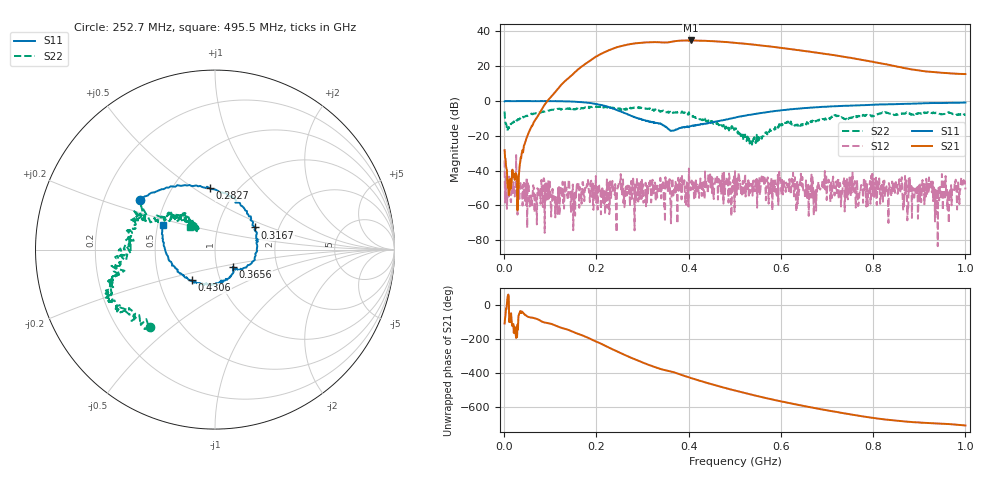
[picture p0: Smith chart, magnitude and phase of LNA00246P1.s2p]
! Created with skrf 1.9.0 (http://scikit-rf.org).
# Hz S RI R 50.0
!freq ReS11 ImS11 ReS21 ImS21 ReS12 ImS12 ReS22 ImS22
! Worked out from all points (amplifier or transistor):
!   1001 points, 1 MHz to 1 GHz, reference 50 ohm
!   highest |S21| = 34.8 dB at 404.6 MHz (marker M1)
!   |S21| within 3 dB of that: 257.2 MHz to 561.1 MHz (304 MHz wide, 74.3 % of centre)
!   unconditionally stable (mu >= 1): start of sweep to 74.47 MHz; 287.7 MHz to 400.5 MHz; 400.9 MHz to end of sweep (the widest 3 of 27)
!   at 166.8 MHz: K = 1.49, MAG = 31.7 dB, |S12| = -52.2 dB
!   at 500.5 MHz: K = 1.21, MAG = 34.2 dB, |S12| = -40.4 dB
!   at 1 GHz: K = 4.83, MAG = 23.4 dB, |S12| = -50.8 dB
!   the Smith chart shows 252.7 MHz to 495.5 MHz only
!   S11 on the Smith chart (normalised r, x): 252.7 MHz: 0.36, +0.26; 282.7 MHz: 0.75, +0.58; 316.7 MHz: 1.51, +0.40; 365.6 MHz: 1.20, -0.24; 430.6 MHz: 0.73, -0.26; 495.5 MHz: 0.53, +0.16
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1000000  0.9775 -0.00809  -0.0128 -0.0365  -0.0189 0.00535  0.3994 0.3051
1.07893e8  0.5193 -0.8515  -0.7585 -1.462  -0.000414 0.002  0.4375 -0.3724
1.67833e8  -0.2544 -0.8939  -9.78 -0.4408  -0.0011 0.000191  0.0261 -0.6361
2.12788e8  -0.6942 -0.3038  -14.58 18.62  -0.0019 -0.00246  -0.2087 -0.6324
2.31769e8  -0.6373 0.0218  -6.981 29.86  0.000221 -0.00153  -0.2849 -0.5737
2.52748e8  -0.4197 0.2741  8.602 36.93  -0.00698 -0.00386  -0.3601 -0.4286
2.82718e8  -0.029 0.3416  34.13 29.58  0.000191 -1.65e-05  -0.5712 -0.2765
3.16684e8  0.2236 0.1235  48.97 3.663  0.0025 0.00455  -0.5463 -0.1436
3.34666e8  0.2246 -0.024  47.94 -11.17  -0.000429 -0.00273  -0.5501 -0.0482
3.65635e8  0.1018 -0.0975  42.54 -29.04  -0.00396 -0.000265  -0.4418 0.1184
4.04596e8  0.00449 -0.1902  18.98 -51.88  -0.000485 0.00269  -0.3368 0.1774
4.3057e8  -0.1277 -0.171  -1.185 -54.18  0.00269 -0.000747  -0.227 0.1963
4.64536e8  -0.261 -0.0429  -24.34 -45.56  0.00335 -0.000626  -0.131 0.1646
4.95505e8  -0.2917 0.1346  -37.02 -30.43  0.000573 -0.00292  -0.1414 0.1279
5.005e8  -0.2872 0.1689  -38.44 -28.04  0.00646 -0.0071  -0.1286 0.0818
5.39461e8  -0.1973 0.3643  -41.49 -7.098  0.00212 -0.00441  -0.0699 -0.00598
5.84416e8  0.0121 0.5123  -34.32 11.36  0.00286 -0.0043  -0.1413 -0.0654
6.25375e8  0.2172 0.5459  -22.83 20.26  0.00288 -0.00239  -0.1847 -0.1115
6.67333e8  0.4193 0.4969  -11.2 22.98  0.000955 -0.00127  -0.2459 -0.0435
7.51249e8  0.6879 0.2792  4.355 16.94  0.00158 -0.000847  -0.3313 0.0218
8.34166e8  0.8061 0.00864  7.998 7.528  -0.00379 -0.00223  -0.4272 0.104
1e9  0.7237 -0.5413  5.875 1.116  -0.00117 -0.00265  -0.1392 0.3717
